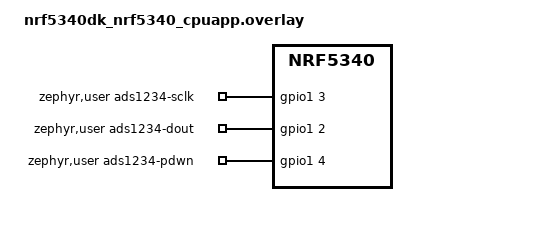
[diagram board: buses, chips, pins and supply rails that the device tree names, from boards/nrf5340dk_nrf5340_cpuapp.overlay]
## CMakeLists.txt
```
cmake_minimum_required(VERSION 3.20.0)

find_package(Zephyr REQUIRED HINTS $ENV{ZEPHYR_BASE})
project(asr_fc_nrf5340_ads1234_probe)

target_sources(app PRIVATE src/main.c)
```

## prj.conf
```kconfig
CONFIG_GPIO=y
CONFIG_SERIAL=y
CONFIG_CONSOLE=y
CONFIG_UART_CONSOLE=y
CONFIG_PRINTK=y
CONFIG_LOG=n
CONFIG_MAIN_STACK_SIZE=2048
CONFIG_ASSERT=y
```

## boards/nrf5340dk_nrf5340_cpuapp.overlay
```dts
/* The BLEDrone integration moves I2C away from these Arduino header pins. */
&i2c1 {
	status = "disabled";
};

/ {
	zephyr,user {
		ads1234-sclk-gpios = <&gpio1 3 GPIO_ACTIVE_HIGH>; /* D15/SCL */
		ads1234-dout-gpios = <&gpio1 2 GPIO_ACTIVE_HIGH>; /* D14/SDA */
		ads1234-pdwn-gpios = <&gpio1 4 GPIO_ACTIVE_HIGH>; /* D2 */
	};
};
```

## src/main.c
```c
#include <stdint.h>

#include <zephyr/device.h>
#include <zephyr/drivers/gpio.h>
#include <zephyr/kernel.h>
#include <zephyr/sys/printk.h>

#define ADS1234_READY_TIMEOUT_MS 1500
#define ADS1234_BITS 24u

#define USER_NODE DT_PATH(zephyr_user)

static const struct gpio_dt_spec ads_sclk =
    GPIO_DT_SPEC_GET(USER_NODE, ads1234_sclk_gpios);
static const struct gpio_dt_spec ads_dout =
    GPIO_DT_SPEC_GET(USER_NODE, ads1234_dout_gpios);
static const struct gpio_dt_spec ads_pdwn =
    GPIO_DT_SPEC_GET(USER_NODE, ads1234_pdwn_gpios);

static void reset_adc(void) {
    /* TI requires high-low-high after both supply rails have stabilized. */
    gpio_pin_set_dt(&ads_pdwn, 1);
    k_busy_wait(50);
    gpio_pin_set_dt(&ads_pdwn, 0);
    k_busy_wait(50);
    gpio_pin_set_dt(&ads_pdwn, 1);
}

static int wait_for_ready(void) {
    const int64_t deadline = k_uptime_get() + ADS1234_READY_TIMEOUT_MS;

    while (k_uptime_get() < deadline) {
        const int level = gpio_pin_get_dt(&ads_dout);
        if (level < 0) {
            return level;
        }
        if (level == 0) {
            return 0;
        }
        k_sleep(K_MSEC(1));
    }

    return -ETIMEDOUT;
}

static int read_sample(int32_t *sample, uint32_t *raw_sample) {
    int status = wait_for_ready();
    if (status != 0) {
        return status;
    }

    uint32_t raw = 0u;
    for (uint32_t bit = 0u; bit < ADS1234_BITS; ++bit) {
        gpio_pin_set_dt(&ads_sclk, 1);
        k_busy_wait(1);

        const int level = gpio_pin_get_dt(&ads_dout);
        if (level < 0) {
            gpio_pin_set_dt(&ads_sclk, 0);
            return level;
        }
        raw = (raw << 1u) | (uint32_t)level;

        gpio_pin_set_dt(&ads_sclk, 0);
        k_busy_wait(1);
    }

    /* The optional 25th clock forces DRDY/DOUT high while conversion resumes. */
    gpio_pin_set_dt(&ads_sclk, 1);
    k_busy_wait(1);
    gpio_pin_set_dt(&ads_sclk, 0);

    *raw_sample = raw;
    *sample = (raw & 0x00800000u) != 0u
                  ? (int32_t)(raw | 0xff000000u)
                  : (int32_t)raw;
    return 0;
}

int main(void) {
    if (!gpio_is_ready_dt(&ads_sclk) || !gpio_is_ready_dt(&ads_dout) ||
        !gpio_is_ready_dt(&ads_pdwn)) {
        printk("ADS1234 ERROR gpio-not-ready\n");
        return 1;
    }

    int status = gpio_pin_configure_dt(&ads_sclk, GPIO_OUTPUT_INACTIVE);
    if (status != 0) {
        printk("ADS1234 ERROR sclk-config status=%d\n", status);
        return 2;
    }
    status = gpio_pin_configure_dt(&ads_dout, GPIO_INPUT);
    if (status != 0) {
        printk("ADS1234 ERROR dout-config status=%d\n", status);
        return 3;
    }
    status = gpio_pin_configure_dt(&ads_pdwn, GPIO_OUTPUT_INACTIVE);
    if (status != 0) {
        printk("ADS1234 ERROR pdwn-config status=%d\n", status);
        return 4;
    }

    k_sleep(K_MSEC(2));
    reset_adc();

    printk("ADS1234 PROBE pins=sclk:P1.03,dout:P1.02,pdwn:P1.04 "
           "mode=ch1,gain128,10sps\n");

    uint32_t sequence = 0u;
    for (;;) {
        int32_t sample = 0;
        uint32_t raw_sample = 0u;
        status = read_sample(&sample, &raw_sample);
        if (status == -ETIMEDOUT) {
            printk("ADS1234 TIMEOUT seq=%u dout=%d\n", sequence,
                   gpio_pin_get_dt(&ads_dout));
        } else if (status != 0) {
            printk("ADS1234 ERROR seq=%u status=%d\n", sequence, status);
        } else {
            printk("ADS1234 SAMPLE seq=%u ms=%lld raw=0x%06x counts=%d\n",
                   sequence, k_uptime_get(), raw_sample, sample);
        }
        ++sequence;
    }
}
```
